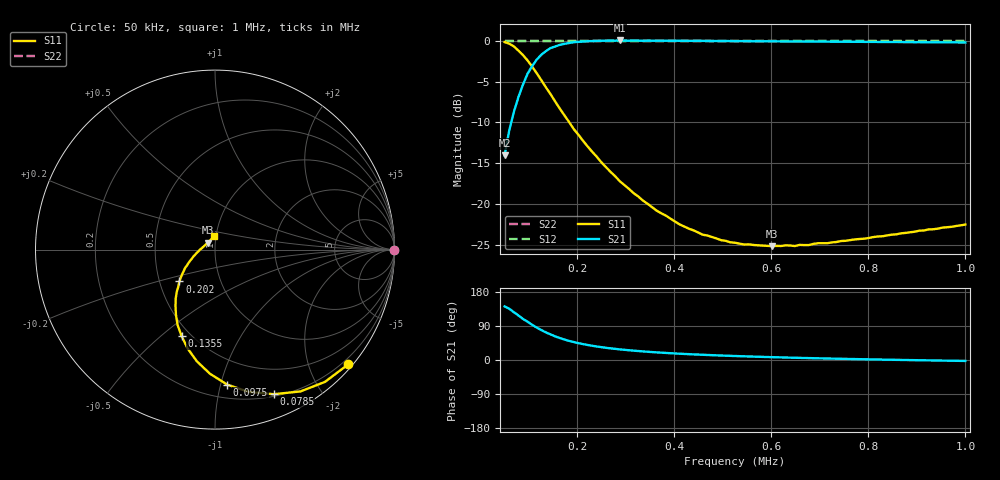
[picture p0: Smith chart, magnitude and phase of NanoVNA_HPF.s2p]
! File created by NanoVNA (https://gen111.taobao.com/)
! Start 50000Hz  Stop 1000000Hz  Points 101
# HZ S MA R 50
! S - Parameter data, F S11 S21 (S12 and S22 are invalid)
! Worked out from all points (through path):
!   101 points, 50 kHz to 1 MHz, reference 50 ohm
!   highest |S21| = 0.02 dB at 287.5 kHz (marker M1); lowest = -14.0 dB at 50 kHz (marker M2)
!   lowest |S11| = -25.1 dB at 601 kHz (marker M3), VSWR 1.12, Z = 46.1 + j3.64 ohm
!   |S11| at or under -10 dB: 183.5 kHz to end of sweep
!   |S22| runs from 0.0 to 0.0 dB; largest |S21 - S12| = 1.3
!   S11 on the Smith chart (normalised r, x): 50 kHz: 0.08, -2.70; 78.5 kHz: 0.22, -1.46; 97.5 kHz: 0.30, -1.05; 135.5 kHz: 0.45, -0.59; 202 kHz: 0.63, -0.24; 1 MHz: 0.98, +0.15
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50000  0.9802 -40.7  0.1987 141.4  1 0.0  1 0.0
59500  0.9584 -50.3  0.2823 135.3  1 0.0  1 0.0
69000  0.9226 -58.9  0.3658 126.3  1 0.0  1 0.0
78500  0.8692 -67.9  0.452 117.5  1 0.0  1 0.0
88000  0.8155 -76.5  0.5402 108.2  1 0.0  1 0.0
97500  0.7554 -84.8  0.629 100.8  1 0.0  1 0.0
116500  0.6303 -99.2  0.7673 85.4  1 0.0  1 0.0
135500  0.5163 -111.1  0.8639 72.5  1 0.0  1 0.0
145000  0.4695 -116.3  0.9015 67.5  1 0.0  1 0.0
164000  0.3836 -125.0  0.9426 57.8  1 0.0  1 0.0
183000  0.3179 -132.1  0.9675 50.4  1 0.0  1 0.0
202000  0.2664 -138.2  0.9826 44.5  1 0.0  1 0.0
211500  0.2446 -141.0  0.9874 42.0  1 0.0  1 0.0
240000  0.1952 -148.6  0.9966 35.5  1 0.0  1 0.0
287500  0.1382 -158.5  1.003 28.1  1 0.0  1 0.0
373000  0.0881 -176.4  0.9991 19.4  1 0.0  1 0.0
458500  0.06513 164.7  0.9968 13.8  1 0.0  1 0.0
525000  0.0582 149.9  0.9927 10.5  1 0.0  1 0.0
601000  0.05545 134.7  0.9907 7.5  1 0.0  1 0.0
686500  0.05724 121.0  0.9873 4.7  1 0.0  1 0.0
848000  0.06516 103.9  0.9806 0.6  1 0.0  1 0.0
1000000  0.07516 93.3  0.9748 -2.5  1 0.0  1 0.0
